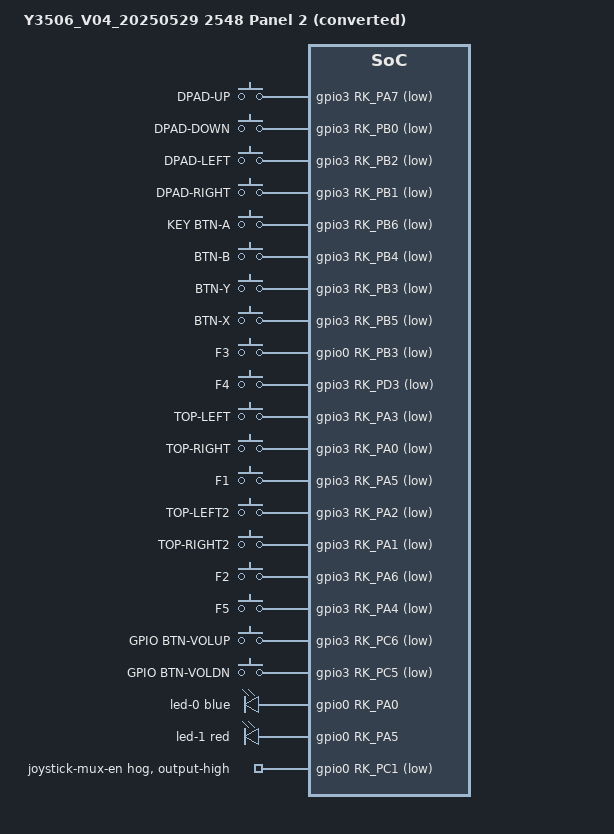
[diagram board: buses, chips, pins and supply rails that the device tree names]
// SPDX-License-Identifier: (GPL-2.0+ OR MIT)
/*
 * Y3506_V04_20250529 2548 Panel 2, converted from a vendor RK3326 device tree by
 * `lume dtb import` (boot-dtb-select D12). Do not edit: import again.
 * Source: darkosre/files/BOOT/dtb/soysauce/Y3506_V04_20250529 2548 Panel 2/rk3326-r36s-linux.dtb
 * SHA-256: 698b2768d83136b4d7815f68dbba26c5c4b74079a44e91b69a31f0a7d88016cb
 * Note: speaker gain: source spk-volume 1 ignored, the native safe value is used
 */

#include "rk3326-r36s-v5.dts"

/ {
	model = "Y3506_V04_20250529 2548 Panel 2 (converted)";

	lume-select {
		lume,id = "darkosre-soysauce-y3506-v04-20250529-2548-panel-2";
		lume,priority = <0>;
		/delete-property/ lume,default;
		/delete-property/ lume,panel-id;
	};

	/delete-node/ gpio-keys;
	/delete-node/ volume-keys;

	gpio-keys {
		compatible = "gpio-keys";
		pinctrl-names = "default";
		pinctrl-0 = <&btn_pins>;

		button-dpad-up {
			gpios = <&gpio3 RK_PA7 GPIO_ACTIVE_LOW>;
			label = "DPAD-UP";
			linux,code = <0x220>;
		};

		button-dpad-down {
			gpios = <&gpio3 RK_PB0 GPIO_ACTIVE_LOW>;
			label = "DPAD-DOWN";
			linux,code = <0x221>;
		};

		button-dpad-left {
			gpios = <&gpio3 RK_PB2 GPIO_ACTIVE_LOW>;
			label = "DPAD-LEFT";
			linux,code = <0x222>;
		};

		button-dpad-right {
			gpios = <&gpio3 RK_PB1 GPIO_ACTIVE_LOW>;
			label = "DPAD-RIGHT";
			linux,code = <0x223>;
		};

		button-key-btn-a {
			gpios = <&gpio3 RK_PB6 GPIO_ACTIVE_LOW>;
			label = "KEY BTN-A";
			linux,code = <0x131>;
		};

		button-btn-b {
			gpios = <&gpio3 RK_PB4 GPIO_ACTIVE_LOW>;
			label = "BTN-B";
			linux,code = <0x130>;
		};

		button-btn-y {
			gpios = <&gpio3 RK_PB3 GPIO_ACTIVE_LOW>;
			label = "BTN-Y";
			linux,code = <0x134>;
		};

		button-btn-x {
			gpios = <&gpio3 RK_PB5 GPIO_ACTIVE_LOW>;
			label = "BTN-X";
			linux,code = <0x133>;
		};

		button-f3 {
			gpios = <&gpio0 RK_PB3 GPIO_ACTIVE_LOW>;
			label = "F3";
			linux,code = <0x2c2>;
		};

		button-f4 {
			gpios = <&gpio3 RK_PD3 GPIO_ACTIVE_LOW>;
			label = "F4";
			linux,code = <0x2c3>;
		};

		button-top-left {
			gpios = <&gpio3 RK_PA3 GPIO_ACTIVE_LOW>;
			label = "TOP-LEFT";
			linux,code = <0x136>;
		};

		button-top-right {
			gpios = <&gpio3 RK_PA0 GPIO_ACTIVE_LOW>;
			label = "TOP-RIGHT";
			linux,code = <0x137>;
		};

		button-f1 {
			gpios = <&gpio3 RK_PA5 GPIO_ACTIVE_LOW>;
			label = "F1";
			linux,code = <0x2c0>;
		};

		button-top-left2 {
			gpios = <&gpio3 RK_PA2 GPIO_ACTIVE_LOW>;
			label = "TOP-LEFT2";
			linux,code = <0x138>;
		};

		button-top-right2 {
			gpios = <&gpio3 RK_PA1 GPIO_ACTIVE_LOW>;
			label = "TOP-RIGHT2";
			linux,code = <0x139>;
		};

		button-f2 {
			gpios = <&gpio3 RK_PA6 GPIO_ACTIVE_LOW>;
			label = "F2";
			linux,code = <0x2c1>;
		};

		button-f5 {
			gpios = <&gpio3 RK_PA4 GPIO_ACTIVE_LOW>;
			label = "F5";
			linux,code = <0x2c4>;
		};
	};

	volume-keys {
		compatible = "gpio-keys";
		pinctrl-names = "default";
		pinctrl-0 = <&vol_pins>;
		autorepeat;

		button-gpio-btn-volup {
			gpios = <&gpio3 RK_PC6 GPIO_ACTIVE_LOW>;
			label = "GPIO BTN-VOLUP";
			linux,code = <0x73>;
		};

		button-gpio-btn-voldn {
			gpios = <&gpio3 RK_PC5 GPIO_ACTIVE_LOW>;
			label = "GPIO BTN-VOLDN";
			linux,code = <0x72>;
		};
	};

	mux-controller {
		mux-gpios = <&gpio0 RK_PB5 GPIO_ACTIVE_LOW>,
			    <&gpio0 RK_PB4 GPIO_ACTIVE_LOW>;
	};

	adc-mux {
		io-channels = <&saradc 1>;
	};

	/delete-node/ gpio-leds;

	gpio-leds {
		compatible = "gpio-leds";
		pinctrl-names = "default";
		pinctrl-0 = <&led_pins>;

		led-0 {
			color = <LED_COLOR_ID_BLUE>;
			function = LED_FUNCTION_STATUS;
			gpios = <&gpio0 RK_PA0 GPIO_ACTIVE_HIGH>;
		};

		led-1 {
			color = <LED_COLOR_ID_RED>;
			function = LED_FUNCTION_INDICATOR;
			gpios = <&gpio0 RK_PA5 GPIO_ACTIVE_HIGH>;
		};
	};

	rk817-sound {
		simple-audio-card,hp-det-gpios = <&gpio2 RK_PC6 GPIO_ACTIVE_HIGH>;
	};
};

&internal_display {
	compatible = "rocknix,generic-dsi";
	/delete-property/ vcc-supply;
	vdd-supply = <&vcc_lcd>;
	reset-gpios = <&gpio3 RK_PC0 GPIO_ACTIVE_LOW>;
	enable-gpios = <&gpio1 RK_PC2 GPIO_ACTIVE_LOW>;
	panel_description =
		"G size=71,71 delays=100,50,20,200,20 format=rgb888 lanes=4 flags=0xe03",
		"M clock=40000 horizontal=640,120,120,120 vertical=480,17,5,13 default=1",
		"M clock=25500 horizontal=640,188,2,190 vertical=480,13,2,5",
		"M clock=30600 horizontal=640,87,2,87 vertical=480,13,2,5",
		"I seq=11 wait=96",
		"I seq=29 wait=32";
};

&dsi {
	rockchip,lane-rate = <266>;
};

&backlight {
	pwms = <&pwm1 0 40000 0>;
	/delete-property/ num-interpolated-steps;
	brightness-levels = <0 1 2 3 4 5 6 7 8 9 10 11 12 13 14 15 16 17 18 19 20 21 22 23 24 25 26 27 28 29 30 31 32 33 34 35 36 37 38 39 40 41 42 43 44 45 46 47 48 49 50 51 52 53 54 55 56 57 58 59 60 61 62 63 64 65 66 67 68 69 70 71 72 73 74 75 76 77 78 79 80 81 82 83 84 85 86 87 88 89 90 91 92 93 94 95 96 97 98 99 100 101 102 103 104 105 106 107 108 109 110 111 112 113 114 115 116 117 118 119 120 121 122 123 124 125 126 127 128 129 130 131 132 133 134 135 136 137 138 139 140 141 142 143 144 145 146 147 148 149 150 151 152 153 154 155 156 157 158 159 160>;
	default-brightness-level = <80>;
};

&battery {
	charge-full-design-microamp-hours = <3188000>;
	voltage-max-design-microvolt = <4182000>;
	voltage-min-design-microvolt = <3400000>;
	ocv-capacity-table-0 = <4182000 100>,
				<4075000 95>,
				<4028000 90>,
				<4012000 85>,
				<3961000 80>,
				<3911000 75>,
				<3886000 70>,
				<3852000 65>,
				<3809000 60>,
				<3759000 55>,
				<3701000 50>,
				<3660000 45>,
				<3634000 40>,
				<3615000 35>,
				<3599000 30>,
				<3582000 25>,
				<3559000 20>,
				<3529000 15>,
				<3493000 10>,
				<3444000 5>,
				<3400000 0>;
};

&spk_amp {
	enable-gpios = <&gpio3 RK_PC4 GPIO_ACTIVE_HIGH>;
};

&rk817 {
	interrupt-parent = <&gpio0>;
	interrupts = <RK_PA7 IRQ_TYPE_LEVEL_LOW>;
};

&rk817 {
	regulators {
		DCDC_REG1 {
			regulator-always-on;
			regulator-boot-on;
			regulator-min-microvolt = <950000>;
			regulator-max-microvolt = <1350000>;
			regulator-name = "vdd_logic";

			regulator-state-mem {
				regulator-on-in-suspend;
				/delete-property/ regulator-off-in-suspend;
				regulator-suspend-microvolt = <950000>;
			};
		};
		DCDC_REG2 {
			regulator-always-on;
			regulator-boot-on;
			regulator-min-microvolt = <950000>;
			regulator-max-microvolt = <1350000>;
			regulator-name = "vdd_arm";

			regulator-state-mem {
				/delete-property/ regulator-on-in-suspend;
				regulator-off-in-suspend;
				regulator-suspend-microvolt = <950000>;
			};
		};
		DCDC_REG3 {
			regulator-always-on;
			regulator-boot-on;
			/delete-property/ regulator-min-microvolt;
			/delete-property/ regulator-max-microvolt;
			regulator-name = "vcc_ddr";

			regulator-state-mem {
				regulator-on-in-suspend;
				/delete-property/ regulator-off-in-suspend;
				/delete-property/ regulator-suspend-microvolt;
			};
		};
		DCDC_REG4 {
			regulator-always-on;
			regulator-boot-on;
			regulator-min-microvolt = <3300000>;
			regulator-max-microvolt = <3300000>;
			regulator-name = "vcc_3v3";

			regulator-state-mem {
				regulator-on-in-suspend;
				/delete-property/ regulator-off-in-suspend;
				regulator-suspend-microvolt = <3300000>;
			};
		};
		LDO_REG1 {
			regulator-always-on;
			regulator-boot-on;
			regulator-min-microvolt = <1000000>;
			regulator-max-microvolt = <1000000>;
			regulator-name = "vcc_1v0";

			regulator-state-mem {
				/delete-property/ regulator-on-in-suspend;
				regulator-off-in-suspend;
				regulator-suspend-microvolt = <1000000>;
			};
		};
		LDO_REG2 {
			regulator-always-on;
			regulator-boot-on;
			regulator-min-microvolt = <1800000>;
			regulator-max-microvolt = <1800000>;
			regulator-name = "vcc1v8_soc";

			regulator-state-mem {
				regulator-on-in-suspend;
				/delete-property/ regulator-off-in-suspend;
				regulator-suspend-microvolt = <1800000>;
			};
		};
		LDO_REG3 {
			regulator-always-on;
			regulator-boot-on;
			regulator-min-microvolt = <1000000>;
			regulator-max-microvolt = <1000000>;
			regulator-name = "vcc1v0_soc";

			regulator-state-mem {
				regulator-on-in-suspend;
				/delete-property/ regulator-off-in-suspend;
				regulator-suspend-microvolt = <1000000>;
			};
		};
		LDO_REG4 {
			regulator-always-on;
			regulator-boot-on;
			regulator-min-microvolt = <3000000>;
			regulator-max-microvolt = <3000000>;
			regulator-name = "vcc3v3_pmu";

			regulator-state-mem {
				regulator-on-in-suspend;
				/delete-property/ regulator-off-in-suspend;
				regulator-suspend-microvolt = <3000000>;
			};
		};
		LDO_REG5 {
			regulator-always-on;
			regulator-boot-on;
			regulator-min-microvolt = <1800000>;
			regulator-max-microvolt = <3300000>;
			regulator-name = "vccio_sd";

			regulator-state-mem {
				regulator-on-in-suspend;
				/delete-property/ regulator-off-in-suspend;
				regulator-suspend-microvolt = <3300000>;
			};
		};
		LDO_REG6 {
			regulator-min-microvolt = <3300000>;
			regulator-max-microvolt = <3300000>;
			regulator-name = "vcc_sd";

			regulator-state-mem {
				regulator-on-in-suspend;
				/delete-property/ regulator-off-in-suspend;
				regulator-suspend-microvolt = <3300000>;
			};
		};
		LDO_REG7 {
			regulator-always-on;
			regulator-boot-on;
			regulator-min-microvolt = <3300000>;
			regulator-max-microvolt = <3300000>;
			regulator-name = "vcc2v8_dvp";

			regulator-state-mem {
				/delete-property/ regulator-on-in-suspend;
				regulator-off-in-suspend;
				regulator-suspend-microvolt = <3300000>;
			};
		};
		LDO_REG8 {
			regulator-always-on;
			regulator-boot-on;
			regulator-min-microvolt = <3300000>;
			regulator-max-microvolt = <3300000>;
			regulator-name = "vcc_lcd";

			regulator-state-mem {
				regulator-on-in-suspend;
				/delete-property/ regulator-off-in-suspend;
				regulator-suspend-microvolt = <3300000>;
			};
		};
		LDO_REG9 {
			regulator-always-on;
			regulator-boot-on;
			regulator-min-microvolt = <1100000>;
			regulator-max-microvolt = <1100000>;
			regulator-name = "vdd_11";

			regulator-state-mem {
				regulator-on-in-suspend;
				/delete-property/ regulator-off-in-suspend;
				regulator-suspend-microvolt = <1100000>;
			};
		};
		BOOST {
			regulator-always-on;
			regulator-boot-on;
			regulator-min-microvolt = <4700000>;
			regulator-max-microvolt = <5400000>;
			regulator-name = "boost";
			/delete-node/ regulator-state-mem;
		};
		OTG_SWITCH {
			regulator-boot-on;
			/delete-property/ regulator-min-microvolt;
			/delete-property/ regulator-max-microvolt;
			regulator-name = "otg_switch";
			/delete-node/ regulator-state-mem;
		};
	};
};

&io_domains {
	vccio1-supply = <&{/i2c@ff180000/pmic@20/regulators/LDO_REG5}>;
	vccio2-supply = <&{/i2c@ff180000/pmic@20/regulators/LDO_REG5}>;
	vccio3-supply = <&{/i2c@ff180000/pmic@20/regulators/DCDC_REG4}>;
	vccio4-supply = <&{/i2c@ff180000/pmic@20/regulators/DCDC_REG4}>;
	vccio5-supply = <&{/i2c@ff180000/pmic@20/regulators/DCDC_REG4}>;
	vccio6-supply = <&{/i2c@ff180000/pmic@20/regulators/DCDC_REG4}>;
	/delete-property/ vccio-oscgpi-supply;
};

&pmu_io_domains {
	pmuio1-supply = <&{/i2c@ff180000/pmic@20/regulators/LDO_REG4}>;
	pmuio2-supply = <&{/i2c@ff180000/pmic@20/regulators/LDO_REG4}>;
};

&gpio0 {
	/delete-node/ joystick-mux-en-hog;
	joystick-mux-en-hog {
		gpio-hog;
		gpios = <RK_PC1 GPIO_ACTIVE_LOW>;
		output-high;
		line-name = "joystick-mux-en";
	};
};

&gpio1 {
	/delete-node/ lcd-enable-hog;
};

&gpio3 {
	/delete-node/ lcd-stbyb-hog;
};

&btn_pins {
	rockchip,pins =
		<3 RK_PA7 RK_FUNC_GPIO &pcfg_pull_up>,
		<3 RK_PB0 RK_FUNC_GPIO &pcfg_pull_up>,
		<3 RK_PB2 RK_FUNC_GPIO &pcfg_pull_up>,
		<3 RK_PB1 RK_FUNC_GPIO &pcfg_pull_up>,
		<3 RK_PB6 RK_FUNC_GPIO &pcfg_pull_up>,
		<3 RK_PB4 RK_FUNC_GPIO &pcfg_pull_up>,
		<3 RK_PB3 RK_FUNC_GPIO &pcfg_pull_up>,
		<3 RK_PB5 RK_FUNC_GPIO &pcfg_pull_up>,
		<0 RK_PB3 RK_FUNC_GPIO &pcfg_pull_up>,
		<3 RK_PD3 RK_FUNC_GPIO &pcfg_pull_up>,
		<3 RK_PA3 RK_FUNC_GPIO &pcfg_pull_up>,
		<3 RK_PA0 RK_FUNC_GPIO &pcfg_pull_up>,
		<3 RK_PA5 RK_FUNC_GPIO &pcfg_pull_up>,
		<3 RK_PA2 RK_FUNC_GPIO &pcfg_pull_up>,
		<3 RK_PA1 RK_FUNC_GPIO &pcfg_pull_up>,
		<3 RK_PA6 RK_FUNC_GPIO &pcfg_pull_up>,
		<3 RK_PA4 RK_FUNC_GPIO &pcfg_pull_up>;
};

&vol_pins {
	rockchip,pins =
		<3 RK_PC6 RK_FUNC_GPIO &pcfg_pull_up>,
		<3 RK_PC5 RK_FUNC_GPIO &pcfg_pull_up>;
};

&led_pins {
	rockchip,pins =
		<0 RK_PA0 RK_FUNC_GPIO &pcfg_pull_none>,
		<0 RK_PA5 RK_FUNC_GPIO &pcfg_pull_none>;
};

&hp_det {
	rockchip,pins = <2 RK_PC6 RK_FUNC_GPIO &pcfg_pull_none>;
};

&spk_amp_enable_h {
	rockchip,pins = <3 RK_PC4 RK_FUNC_GPIO &pcfg_pull_none>;
};

&pmic_int {
	rockchip,pins = <0 RK_PA7 RK_FUNC_GPIO &pcfg_pull_up>;
};
